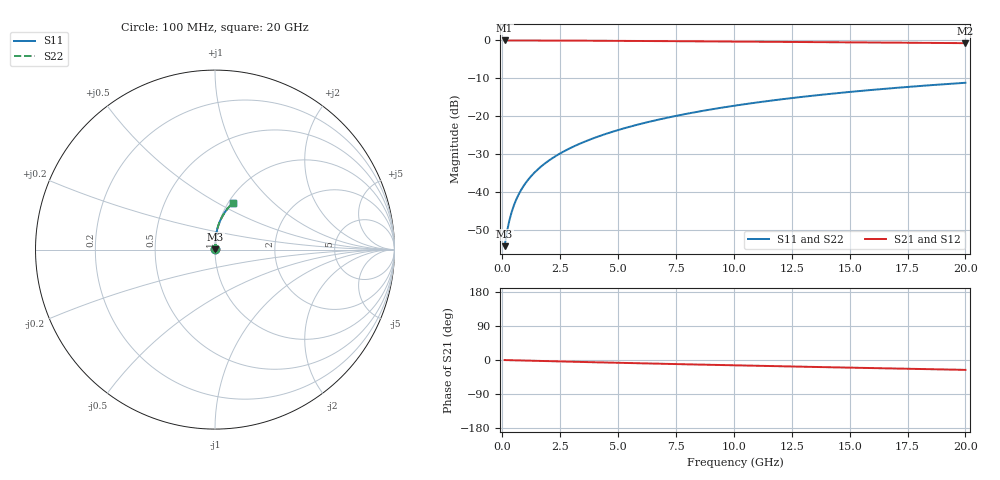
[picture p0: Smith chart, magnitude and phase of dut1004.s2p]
! Touchstone file exported from HFSS 2024.1.0
!  File:  C:/UserFiles/LocalFiles/RDL_TSV_Batchsim/temp_RDL_top_1004_1780042478.aedt
!  Generated:  04:17:55 PM May 29, 2026
!  Design:  RDL_top
!  Project:  temp_RDL_top_1004_1780042478
!  Setup:  Setup1
!  Solution:  Sweep
! Variables:
!  dtsv = 10.80580581um
!  hbump = 3um
!  htsv = 59.89um
!  ldown = 100um
!  lrdl = 342.07um
!  p = 40
!  p1 = 52.08um
!  rhole = 1um
!  t = 450um
!  tdown = 3.915915916um
!  trdl = 4.9um
!  wdown = 15.38538539um
!  wrdl = 20.22um
# GHz S MA R 50.000000
! Terminal data exported
! Port[1] = Box2_T1
! Port[2] = Box2_T2
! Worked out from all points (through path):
!   200 points, 100 MHz to 20 GHz, reference 50 ohm
!   highest |S21| = -0.01 dB at 100 MHz (marker M1); lowest = -0.7 dB at 20 GHz (marker M2)
!   group delay of S21, straight-line fit = 3.58 ps
!   lowest |S11| = -54.2 dB at 100 MHz (marker M3), VSWR 1.00, Z = 50.1 + j0.138 ohm
!   |S11| at or under -10 dB: start of sweep to end of sweep
!   |S22| runs from -54.2 to -11.2 dB; largest |S21 - S12| = 2.7e-15
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0.1  0.001939 45.1  0.9986 -0.2  0.9986 -0.2  0.001939 45.1
! Gamma 0 0 0 0
! Port Impedance 50 0 50 0
0.2  0.002978 63.4  0.9985 -0.3  0.9985 -0.3  0.002977 63.4
0.3  0.00417 71.4  0.9984 -0.5  0.9984 -0.5  0.004169 71.3
0.4  0.005413 75.6  0.9984 -0.6  0.9984 -0.6  0.005412 75.6
0.5  0.006678 78.3  0.9983 -0.8  0.9983 -0.8  0.006677 78.2
0.6  0.007954 80.0  0.9982 -0.9  0.9982 -0.9  0.007953 80.0
0.8  0.01052 82.2  0.998 -1.2  0.998 -1.2  0.01052 82.2
1.1  0.01437 83.9  0.9976 -1.7  0.9976 -1.7  0.01437 83.9
1.5  0.01951 85.1  0.9971 -2.3  0.9971 -2.3  0.01951 85.0
1.8  0.02336 85.6  0.9965 -2.7  0.9965 -2.7  0.02336 85.6
2.1  0.02722 85.9  0.9959 -3.2  0.9959 -3.2  0.02722 85.9
2.7  0.03499 86.4  0.9945 -4.1  0.9945 -4.1  0.03499 86.4
3.5  0.04551 86.6  0.9921 -5.3  0.9921 -5.3  0.04551 86.6
4.2  0.05488 86.6  0.9898 -6.3  0.9898 -6.3  0.05488 86.6
5  0.06581 86.4  0.9868 -7.4  0.9868 -7.4  0.06581 86.4
5.9  0.07835 85.9  0.9833 -8.6  0.9833 -8.6  0.07834 85.9
6.8  0.09111 85.3  0.9796 -9.8  0.9796 -9.8  0.09111 85.3
8.4  0.1142 83.8  0.9728 -12.0  0.9728 -12.0  0.1142 83.8
10.1  0.1389 81.9  0.9655 -14.1  0.9655 -14.1  0.1389 81.9
13.4  0.1866 77.8  0.9509 -18.2  0.9509 -18.2  0.1866 77.8
16.7  0.2327 73.5  0.9357 -22.2  0.9357 -22.2  0.2327 73.5
20  0.2764 69.3  0.92 -26.1  0.92 -26.1  0.2763 69.3
